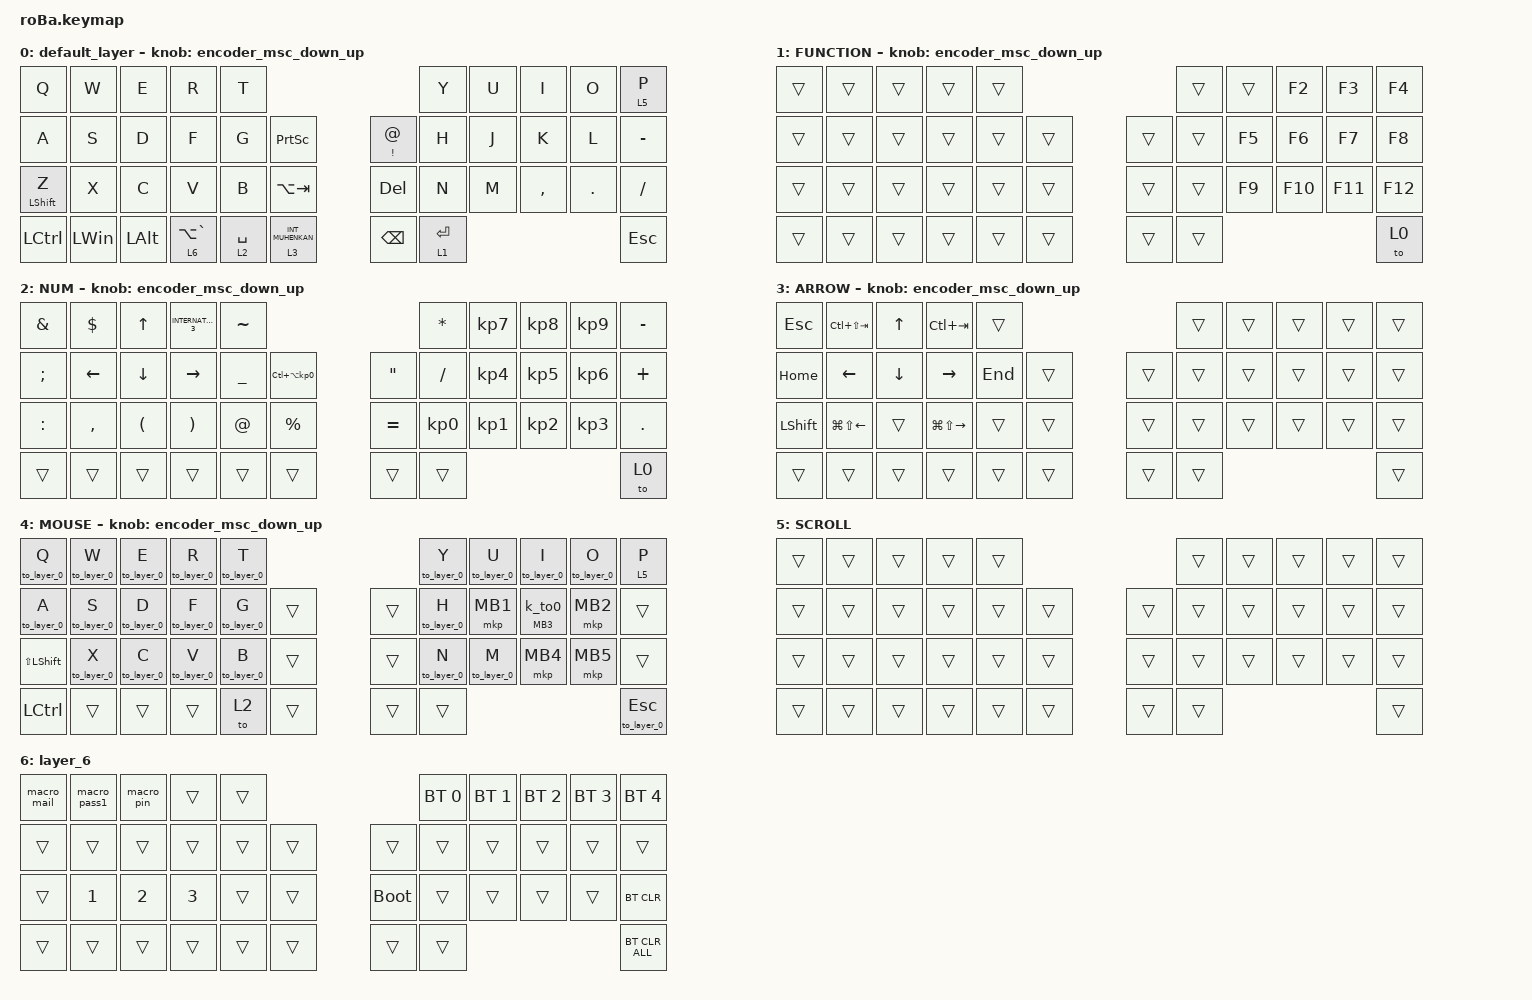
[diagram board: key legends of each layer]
#include <behaviors.dtsi>
#include <dt-bindings/zmk/bt.h>
#include <dt-bindings/zmk/keys.h>
#include <dt-bindings/zmk/pointing.h>

#define ZMK_POINTING_DEFAULT_SCRL_VAL 80
#define CONFIG_PMW3610_AUTOMOUSE_TIMEOUT_MS 3000

&mt {
    flavor = "balanced";
    quick-tap-ms = <0>;
};

&trackball {
    automouse-layer = <4>;
    scroll-layers = <5>;

    // arrows {
    //     layers = <3>;
    //     bindings =
    //         <&kp RIGHT_ARROW>,
    //         <&kp LEFT_ARROW>,
    //         <&kp UP_ARROW>,
    //         <&kp DOWN_ARROW>;
    //     tick = <10>;
    //     wait-ms = <5>;
    //     tap-ms = <5>;
    // };
};

/ {
    combos {
        compatible = "zmk,combos";

        tab {
            bindings = <&kp TAB>;
            key-positions = <11 12>;
        };

        shift_tab {
            bindings = <&kp LS(TAB)>;
            key-positions = <12 13>;
        };

        muhennkann {
            bindings = <&to_layer_0 INT_MUHENKAN>;
            key-positions = <11 10>;
        };

        double_quotation {
            bindings = <&kp DOUBLE_QUOTES>;
            key-positions = <20 21>;
        };

        eq {
            bindings = <&kp EQUAL>;
            key-positions = <24 25>;
        };
    };

    macros {
        to_layer_0: to_layer_0 {
            compatible = "zmk,behavior-macro-one-param";
            #binding-cells = <1>;
            bindings = <&to 0 &macro_param_1to1 &kp MACRO_PLACEHOLDER>;
            label = "TO_LAYER_0";
        };

        macro_mail: mail {
            compatible = "zmk,behavior-macro";
            #binding-cells = <0>;
            bindings = <&kp T &kp A &kp K &kp U &kp M &kp I &kp UNDER &kp U &kp R &kp I &kp N &kp O &kp AT &kp H &kp I &kp B &kp I &kp N &kp O &kp DOT &kp C &kp O &kp DOT &kp J &kp P>;
            label = "MAIL";
        };

        macro_pass1: macro_pass1 {
            compatible = "zmk,behavior-macro";
            #binding-cells = <0>;
            bindings = <&kp LS(U) &kp R &kp I &kp T &kp A &kp K &kp U &kp N0 &kp N2 &kp N0 &kp N2>;
            label = "MACRO_PASS1";
        };

        macro_pin: pin {
            compatible = "zmk,behavior-macro";
            #binding-cells = <0>;
            bindings = <&kp N8 &kp N0 &kp N0 &kp NUMBER_2 &kp N0 &kp NUMBER_2>;
            label = "PIN";
        };

        k_to0: to0_mb3 {
            compatible = "zmk,behavior-macro";
            #binding-cells = <0>;
            bindings = <&kp K &to 0>;
            label = "TO0_MB3";
        };
    };

    behaviors {
        lt_to_layer_0: lt_to_layer_0 {
            compatible = "zmk,behavior-hold-tap";
            label = "LAYER_TAP_TO_0";
            bindings = <&mo>, <&to_layer_0>;

            #binding-cells = <2>;
            tapping-term-ms = <200>;
        };

        mb3_k: mb3_k {
            compatible = "zmk,behavior-hold-tap";
            label = "MB3_K";
            bindings = <&mkp>, <&k_to0>;

            #binding-cells = <2>;
            tapping-term-ms = <200>;
            flavor = "tap-preferred";
        };
    };

    encoder_msc_down_up: encoder_msc_down_up {
        compatible = "zmk,behavior-sensor-rotate";
        label = "ENCODER_MSC_DOWN_UP";
        #sensor-binding-cells = <0>;
        bindings = <&msc SCRL_DOWN>, <&msc SCRL_UP>;

        // 追加: スクロールのタップ時間を設定 (20ms)

        tap-ms = <20>;
    };

    keymap {
        compatible = "zmk,keymap";

        default_layer {
            bindings = <
&kp Q             &kp W         &kp E         &kp R                       &kp T                                                                     &kp Y        &kp U  &kp I      &kp O    &lt 5 P
&kp A             &kp S         &kp D         &kp F                       &kp G                   &kp PRINTSCREEN                    &mt EXCL AT    &kp H        &kp J  &kp K      &kp L    &kp MINUS
&mt LEFT_SHIFT Z  &kp X         &kp C         &kp V                       &kp B                   &kp LA(TAB)                        &kp DEL        &kp N        &kp M  &kp COMMA  &kp DOT  &kp SLASH
&kp LCTRL         &kp LEFT_WIN  &kp LEFT_ALT  &lt_to_layer_0 6 LA(GRAVE)  &lt_to_layer_0 2 SPACE  &lt_to_layer_0 3 INT_MUHENKAN      &kp BACKSPACE  &lt 1 ENTER                             &kp ESCAPE
            >;

            sensor-bindings = <&encoder_msc_down_up>;
        };

        FUNCTION {
            bindings = <
&trans  &trans  &trans  &trans  &trans                      &trans  &trans  &kp F2   &kp F3   &kp F4
&trans  &trans  &trans  &trans  &trans  &trans      &trans  &trans  &kp F5  &kp F6   &kp F7   &kp F8
&trans  &trans  &trans  &trans  &trans  &trans      &trans  &trans  &kp F9  &kp F10  &kp F11  &kp F12
&trans  &trans  &trans  &trans  &trans  &trans      &trans  &trans                            &to 0
            >;

            sensor-bindings = <&encoder_msc_down_up>;
        };

        NUM {
            bindings = <
&kp AMPERSAND  &kp DOLLAR      &kp UP_ARROW    &kp INTERNATIONAL_3  &kp TILDE                                                       &kp ASTERISK     &kp KP_NUMBER_7  &kp KP_NUMBER_8  &kp KP_NUMBER_9  &kp MINUS
&kp SEMICOLON  &kp LEFT_ARROW  &kp DOWN_ARROW  &kp RIGHT_ARROW      &kp UNDERSCORE  &kp LC(LA(KP_NUMBER_0))      &kp DOUBLE_QUOTES  &kp SLASH        &kp KP_NUMBER_4  &kp KP_NUMBER_5  &kp KP_NUMBER_6  &kp PLUS
&kp COLON      &kp COMMA       &kp LPAR        &kp RPAR             &kp AT_SIGN     &kp PERCENT                  &kp EQUAL          &kp KP_NUMBER_0  &kp KP_NUMBER_1  &kp KP_NUMBER_2  &kp KP_NUMBER_3  &kp DOT
&trans         &trans          &trans          &trans               &trans          &trans                       &trans             &trans                                                              &to 0
            >;

            sensor-bindings = <&encoder_msc_down_up>;
        };

        ARROW {
            bindings = <
&kp ESCAPE      &kp LC(LS(TAB))         &kp UP_ARROW    &kp LC(TAB)              &trans                       &trans  &trans  &trans  &trans  &trans
&kp HOME        &kp LEFT_ARROW          &kp DOWN_ARROW  &kp RIGHT_ARROW          &kp END  &trans      &trans  &trans  &trans  &trans  &trans  &trans
&kp LEFT_SHIFT  &kp LG(LS(LEFT_ARROW))  &trans          &kp LG(LS(RIGHT_ARROW))  &trans   &trans      &trans  &trans  &trans  &trans  &trans  &trans
&trans          &trans                  &trans          &trans                   &trans   &trans      &trans  &trans                          &trans
            >;

            sensor-bindings = <&encoder_msc_down_up>;
        };

        MOUSE {
            bindings = <
&to_layer_0 Q       &to_layer_0 W  &to_layer_0 E  &to_layer_0 R  &to_layer_0 T                      &to_layer_0 Y  &to_layer_0 U  &to_layer_0 I  &to_layer_0 O  &lt 5 P
&to_layer_0 A       &to_layer_0 S  &to_layer_0 D  &to_layer_0 F  &to_layer_0 G  &trans      &trans  &to_layer_0 H  &mkp MB1       &mb3_k MB3 0   &mkp MB2       &trans
&kp LS(LEFT_SHIFT)  &to_layer_0 X  &to_layer_0 C  &to_layer_0 V  &to_layer_0 B  &trans      &trans  &to_layer_0 N  &to_layer_0 M  &mkp MB4       &mkp MB5       &trans
&kp LEFT_CONTROL    &trans         &trans         &trans         &to 2          &trans      &trans  &trans                                                      &to_layer_0 ESCAPE
            >;

            sensor-bindings = <&encoder_msc_down_up>;
        };

        SCROLL {
            bindings = <
&trans  &trans  &trans  &trans  &trans                      &trans  &trans  &trans  &trans  &trans
&trans  &trans  &trans  &trans  &trans  &trans      &trans  &trans  &trans  &trans  &trans  &trans
&trans  &trans  &trans  &trans  &trans  &trans      &trans  &trans  &trans  &trans  &trans  &trans
&trans  &trans  &trans  &trans  &trans  &trans      &trans  &trans                          &trans
            >;
        };

        layer_6 {
            bindings = <
&macro_mail  &macro_pass1  &macro_pin    &trans        &trans                           &bt BT_SEL 0  &bt BT_SEL 1  &bt BT_SEL 2  &bt BT_SEL 3  &bt BT_SEL 4
&trans       &trans        &trans        &trans        &trans  &trans      &trans       &trans        &trans        &trans        &trans        &trans
&trans       &kp NUMBER_1  &kp NUMBER_2  &kp NUMBER_3  &trans  &trans      &bootloader  &trans        &trans        &trans        &trans        &bt BT_CLR
&trans       &trans        &trans        &trans        &trans  &trans      &trans       &trans                                                  &bt BT_CLR_ALL
            >;
        };
    };
};
